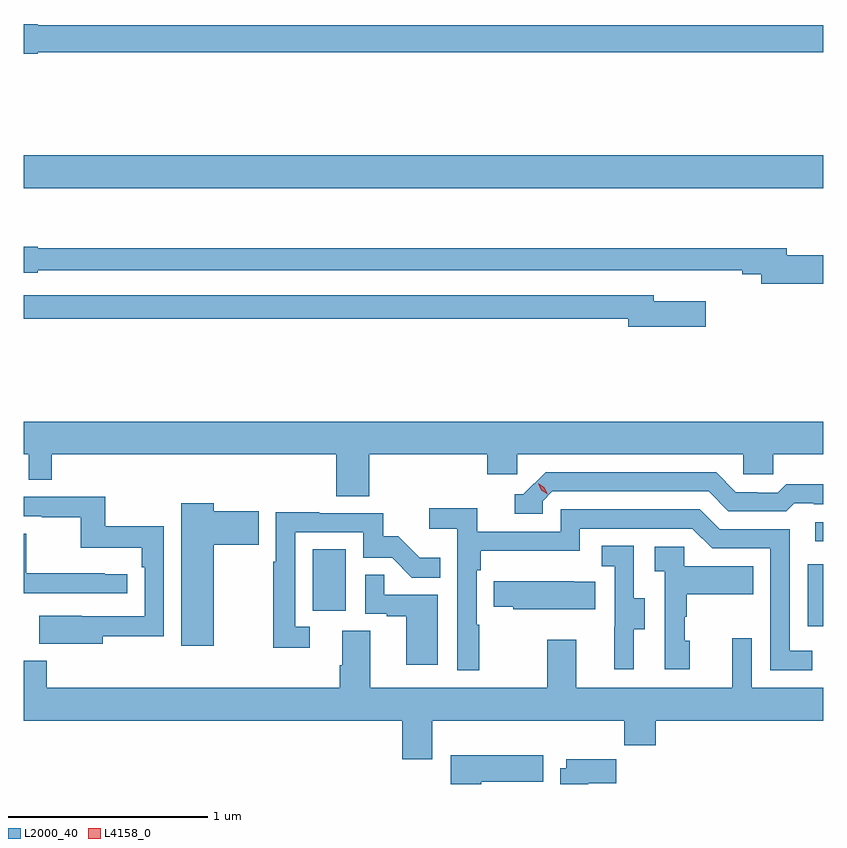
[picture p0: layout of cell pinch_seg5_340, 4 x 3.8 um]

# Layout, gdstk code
import gdstk
lib = gdstk.Library(unit=1e-6, precision=1e-09)
def R(c, l, rs):  # rectangles x0, y0, x1, y1
    for r in rs: c.add(gdstk.rectangle(r[:2], r[2:], *l))
def P(c, l, *ps):  # polygons
    for p in ps: c.add(gdstk.Polygon(p, *l))
L2000_40 = (2000, 40)
L4158_0 = (4158, 0)

pinch_seg5_340 = lib.new_cell('pinch_seg5_340')
R(pinch_seg5_340, L2000_40, [(988.086,875.88,988.164,876.19), (985.61,875.958,985.774,876.265), (988.125,876.306,988.164,876.402), (984.164,878.072,988.164,878.236)])
P(pinch_seg5_340, L2000_40, [(984.234,878.752),(988.164,878.752),(988.164,878.888),(984.234,878.888),(984.234,878.894),(984.164,878.894),(984.164,878.744),(984.234,878.744)],
  [(988.164,877.737),(987.982,877.737),(987.982,877.771),(984.234,877.771),(984.234,877.779),(984.164,877.779),(984.164,877.649),(984.234,877.649),(984.234,877.662),(987.412,877.662),(987.412,877.661),(987.758,877.661),(987.758,877.642),(987.854,877.642),(987.854,877.595),(988.164,877.595)],
  [(987.577,877.507),(987.316,877.507),(987.316,877.536),(984.164,877.536),(984.164,877.42),(987.188,877.42),(987.188,877.378),(987.577,877.378)],
  [(985.892,876.74),(986.483,876.74),(986.483,876.642),(986.634,876.642),(986.634,876.74),(987.765,876.74),(987.765,876.642),(987.915,876.642),(987.915,876.74),(988.164,876.74),(988.164,876.904),(984.164,876.904),(984.164,876.74),(984.189,876.74),(984.189,876.613),(984.305,876.613),(984.305,876.74),(985.727,876.74),(985.727,876.532),(985.892,876.532)],
  [(986.76,876.507),(986.808,876.555),(987.591,876.555),(987.69,876.456),(987.979,876.456),(988.018,876.495),(988.117,876.495),(988.117,876.492),(988.164,876.492),(988.164,876.592),(987.979,876.592),(987.937,876.549),(987.834,876.549),(987.834,876.552),(987.727,876.552),(987.628,876.651),(986.775,876.651),(986.664,876.54),(986.621,876.54),(986.621,876.444),(986.76,876.444)],
  [(984.559,875.83),(984.864,875.83),(984.864,876.382),(984.571,876.382),(984.571,876.528),(984.164,876.528),(984.164,876.432),(984.253,876.432),(984.253,876.427),(984.45,876.427),(984.45,876.272),(984.755,876.272),(984.755,876.176),(984.768,876.176),(984.768,875.931),(984.455,875.931),(984.455,875.932),(984.241,875.932),(984.241,875.792),(984.559,875.792)],
  [(985.114,876.287),(985.339,876.287),(985.339,876.457),(985.114,876.457),(985.114,876.496),(984.953,876.496),(984.953,875.784),(985.114,875.784)],
  [(986.443,875.888),(986.43,875.888),(986.43,876.161),(986.45,876.161),(986.45,876.257),(986.946,876.257),(986.946,876.369),(987.51,876.369),(987.609,876.27),(987.9,876.27),(987.9,875.661),(988.109,875.661),(988.109,875.757),(987.996,875.757),(987.996,876.366),(987.646,876.366),(987.547,876.465),(986.85,876.465),(986.85,876.354),(986.432,876.354),(986.432,876.47),(986.193,876.47),(986.193,876.368),(986.334,876.368),(986.334,875.661),(986.443,875.661)],
  [(985.594,875.877),(985.521,875.877),(985.521,876.351),(985.863,876.351),(985.863,876.222),(986.007,876.222),(986.105,876.124),(986.249,876.124),(986.249,876.223),(986.145,876.223),(986.038,876.33),(985.962,876.33),(985.962,876.447),(985.643,876.447),(985.643,876.452),(985.425,876.452),(985.425,876.203),(985.413,876.203),(985.413,875.772),(985.594,875.772)],
  [(984.682,876.141),(984.569,876.141),(984.569,876.146),(984.176,876.146),(984.176,876.342),(984.164,876.342),(984.164,876.045),(984.682,876.045)],
  [(987.217,875.866),(987.271,875.866),(987.271,876.021),(987.216,876.021),(987.216,876.284),(987.057,876.284),(987.057,876.181),(987.12,876.181),(987.12,875.877),(987.119,875.877),(987.119,875.664),(987.217,875.664)],
  [(987.496,875.808),(987.471,875.808),(987.471,875.927),(987.481,875.927),(987.481,876.041),(987.815,876.041),(987.815,876.181),(987.468,876.181),(987.468,876.279),(987.321,876.279),(987.321,876.155),(987.372,876.155),(987.372,875.664),(987.496,875.664)],
  [(986.236,876.039),(985.967,876.039),(985.967,876.137),(985.872,876.137),(985.872,875.943),(985.979,875.943),(985.979,875.931),(986.078,875.931),(986.078,875.688),(986.236,875.688)],
  [(987.023,876.103),(986.915,876.103),(986.915,876.106),(986.515,876.106),(986.515,875.977),(986.613,875.977),(986.613,875.966),(987.023,875.966)],
  [(986.209,875.408),(987.169,875.408),(987.169,875.284),(987.326,875.284),(987.326,875.408),(988.164,875.408),(988.164,875.572),(987.807,875.572),(987.807,875.821),(987.71,875.821),(987.71,875.572),(986.929,875.572),(986.929,875.812),(986.782,875.812),(986.782,875.572),(985.897,875.572),(985.897,875.858),(985.757,875.858),(985.757,875.684),(985.745,875.684),(985.745,875.572),(984.278,875.572),(984.278,875.707),(984.164,875.707),(984.164,875.408),(986.057,875.408),(986.057,875.214),(986.209,875.214)],
  [(986.452,875.102),(986.764,875.102),(986.764,875.236),(986.3,875.236),(986.3,875.091),(986.452,875.091)],
  [(986.989,875.096),(987.128,875.096),(987.128,875.215),(986.879,875.215),(986.879,875.17),(986.849,875.17),(986.849,875.091),(986.989,875.091)])
P(pinch_seg5_340, L4158_0, [(986.785,876.542),(986.754,876.562),(986.739,876.595),(986.739,876.595),(986.739,876.595),(986.769,876.575),(986.785,876.542),(986.785,876.542)])

lib.write_gds('pinch_seg5_340.gds')
